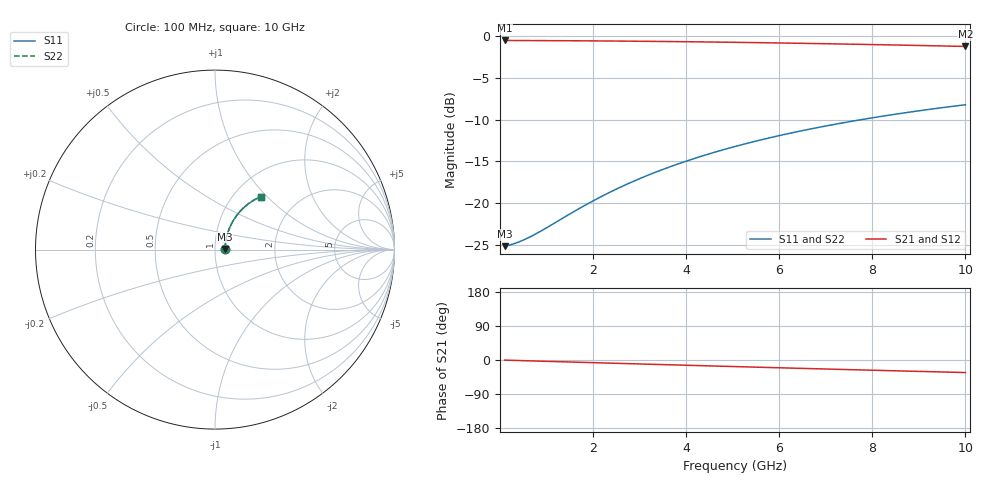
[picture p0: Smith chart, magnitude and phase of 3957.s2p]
# Hz S RI R 50.00
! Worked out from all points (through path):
!   100 points, 100 MHz to 10 GHz, reference 50 ohm
!   highest |S21| = -0.49 dB at 100 MHz (marker M1); lowest = -1.2 dB at 10 GHz (marker M2)
!   group delay of S21, straight-line fit = 9.22 ps
!   lowest |S11| = -25.2 dB at 100 MHz (marker M3), VSWR 1.12, Z = 55.8 + j0.446 ohm
!   |S11| at or under -10 dB: start of sweep to 7.764 GHz
!   |S22| runs from -25.2 to -8.2 dB; largest |S21 - S12| = 0
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1e8  0.0548 0.00398  0.9452 -0.00577  0.9452 -0.00577  0.0548 0.00398
3e8  0.0556 0.0119  0.9444 -0.0173  0.9444 -0.0173  0.0556 0.0119
4e8  0.056 0.0159  0.944 -0.0231  0.944 -0.0231  0.056 0.0159
5e8  0.0564 0.0198  0.9436 -0.0288  0.9436 -0.0288  0.0564 0.0198
7e8  0.0572 0.0277  0.9427 -0.0403  0.9427 -0.0403  0.0572 0.0277
9e8  0.0583 0.0356  0.9416 -0.0517  0.9416 -0.0517  0.0583 0.0356
1.8e9  0.0648 0.0705  0.9346 -0.1028  0.9346 -0.1028  0.0648 0.0705
2.2e9  0.0689 0.0857  0.9303 -0.1252  0.9303 -0.1252  0.0689 0.0857
2.6e9  0.0736 0.1007  0.9252 -0.1473  0.9252 -0.1473  0.0736 0.1007
3e9  0.0791 0.1153  0.9194 -0.1692  0.9194 -0.1692  0.0791 0.1153
3.4e9  0.0852 0.1296  0.9129 -0.1907  0.9129 -0.1907  0.0852 0.1296
3.8e9  0.0919 0.1435  0.9057 -0.2118  0.9057 -0.2118  0.0919 0.1435
4.2e9  0.0992 0.157  0.8978 -0.2325  0.8978 -0.2325  0.0992 0.157
4.6e9  0.1071 0.1701  0.8893 -0.2528  0.8893 -0.2528  0.1071 0.1701
5.1e9  0.1178 0.1858  0.8778 -0.2775  0.8778 -0.2775  0.1178 0.1858
5.5e9  0.1269 0.1978  0.868 -0.2968  0.868 -0.2968  0.1269 0.1978
5.9e9  0.1365 0.2093  0.8576 -0.3155  0.8576 -0.3155  0.1365 0.2093
6.7e9  0.157 0.2306  0.8355 -0.3513  0.8355 -0.3513  0.157 0.2306
7.5e9  0.1789 0.2496  0.8116 -0.385  0.8116 -0.385  0.1789 0.2496
8.4e9  0.205 0.2683  0.783 -0.4201  0.783 -0.4201  0.205 0.2683
9.2e9  0.2292 0.2823  0.7564 -0.4488  0.7564 -0.4488  0.2292 0.2823
1e10  0.254 0.294  0.7289 -0.4752  0.7289 -0.4752  0.254 0.294
